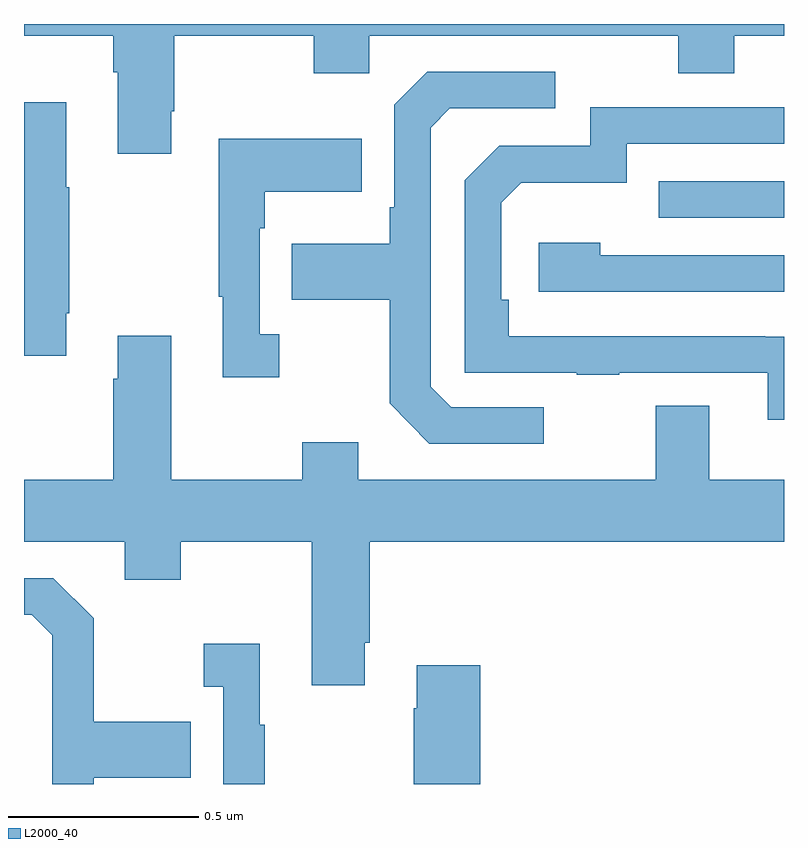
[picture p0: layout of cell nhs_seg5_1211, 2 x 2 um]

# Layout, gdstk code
import gdstk
lib = gdstk.Library(unit=1e-6, precision=1e-09)
def R(c, l, rs):  # rectangles x0, y0, x1, y1
    for r in rs: c.add(gdstk.rectangle(r[:2], r[2:], *l))
def P(c, l, *ps):  # polygons
    for p in ps: c.add(gdstk.Polygon(p, *l))
L2000_40 = (2000, 40)

nhs_seg5_1211 = lib.new_cell('nhs_seg5_1211')
R(nhs_seg5_1211, L2000_40, [(128.671,848.289,129,848.385)])
P(nhs_seg5_1211, L2000_40, [(127.387,848.569),(127.395,848.569),(127.395,848.768),(127.762,848.768),(127.762,848.669),(127.908,848.669),(127.908,848.768),(128.722,848.768),(128.722,848.669),(128.869,848.669),(128.869,848.768),(129,848.768),(129,848.799),(127,848.799),(127,848.768),(127.235,848.768),(127.235,848.672),(127.247,848.672),(127.247,848.457),(127.387,848.457)],
  [(128.368,847.791),(128.124,847.791),(128.07,847.845),(128.07,848.526),(128.121,848.577),(128.398,848.577),(128.398,848.673),(128.061,848.673),(127.974,848.586),(127.974,848.317),(127.962,848.317),(127.962,848.221),(127.705,848.221),(127.705,848.074),(127.962,848.074),(127.962,847.801),(128.067,847.695),(128.368,847.695)],
  [(127.111,848.038),(127.119,848.038),(127.119,848.369),(127.111,848.369),(127.111,848.593),(127,848.593),(127,847.926),(127.111,847.926)],
  [(129,847.976),(128.951,847.976),(128.951,847.977),(128.276,847.977),(128.276,848.074),(128.256,848.074),(128.256,848.328),(128.309,848.381),(128.586,848.381),(128.586,848.484),(129,848.484),(129,848.58),(128.49,848.58),(128.49,848.478),(128.25,848.478),(128.16,848.388),(128.16,847.881),(128.455,847.881),(128.455,847.876),(128.567,847.876),(128.567,847.881),(128.957,847.881),(128.957,847.758),(129,847.758)],
  [(127.672,847.982),(127.62,847.982),(127.62,848.261),(127.633,848.261),(127.633,848.357),(127.889,848.357),(127.889,848.497),(127.512,848.497),(127.512,848.081),(127.523,848.081),(127.523,847.869),(127.672,847.869)],
  [(129,848.19),(128.516,848.19),(128.516,848.224),(128.355,848.224),(128.355,848.094),(129,848.094)],
  [(127.897,847.171),(127.91,847.171),(127.91,847.436),(129,847.436),(129,847.6),(128.803,847.6),(128.803,847.795),(128.663,847.795),(128.663,847.6),(127.879,847.6),(127.879,847.699),(127.732,847.699),(127.732,847.6),(127.387,847.6),(127.387,847.978),(127.247,847.978),(127.247,847.865),(127.235,847.865),(127.235,847.6),(127,847.6),(127,847.436),(127.265,847.436),(127.265,847.337),(127.413,847.337),(127.413,847.436),(127.757,847.436),(127.757,847.059),(127.897,847.059)],
  [(127.183,846.815),(127.439,846.815),(127.439,846.963),(127.183,846.963),(127.183,847.235),(127.077,847.341),(127,847.341),(127,847.245),(127.02,847.245),(127.074,847.191),(127.074,846.799),(127.183,846.799)],
  [(127.633,846.955),(127.621,846.955),(127.621,847.168),(127.473,847.168),(127.473,847.055),(127.524,847.055),(127.524,846.799),(127.633,846.799)],
  [(128.201,847.111),(128.033,847.111),(128.033,846.998),(128.026,846.998),(128.026,846.799),(128.201,846.799)])

lib.write_gds('nhs_seg5_1211.gds')
